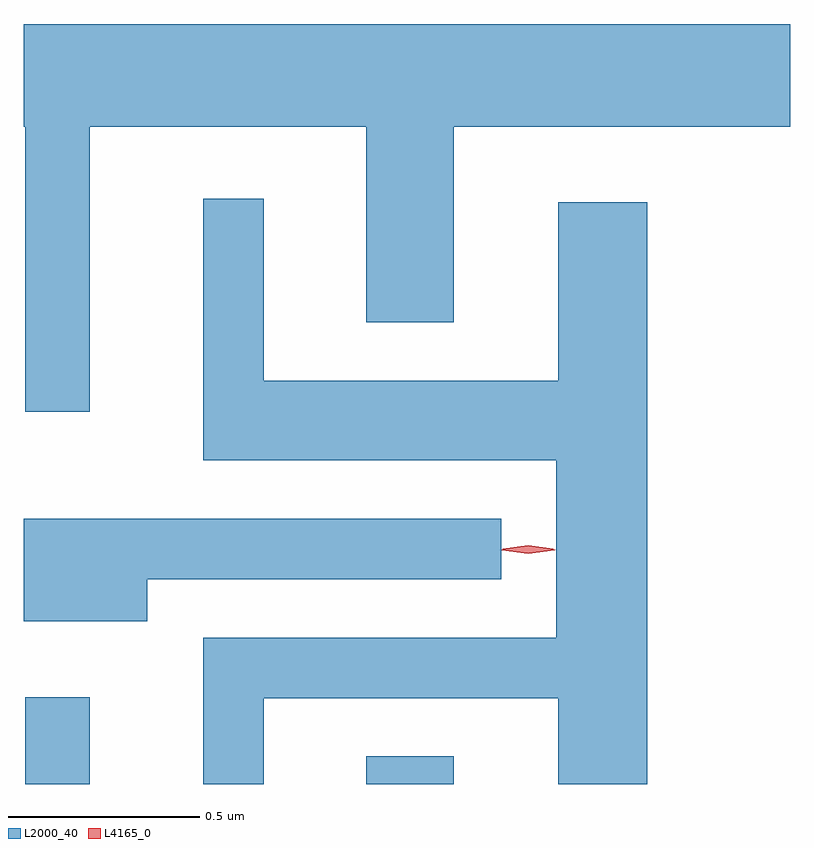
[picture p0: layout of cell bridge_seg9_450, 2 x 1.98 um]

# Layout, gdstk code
import gdstk
lib = gdstk.Library(unit=1e-6, precision=1e-09)
def R(c, l, rs):  # rectangles x0, y0, x1, y1
    for r in rs: c.add(gdstk.rectangle(r[:2], r[2:], *l))
def P(c, l, *ps):  # polygons
    for p in ps: c.add(gdstk.Polygon(p, *l))
L2000_40 = (2000, 40)
L4165_0 = (4165, 0)

bridge_seg9_450 = lib.new_cell('bridge_seg9_450')
R(bridge_seg9_450, L2000_40, [(351.511,2058.922,351.679,2059.148), (352.401,2058.922,352.629,2058.994)])
P(bridge_seg9_450, L2000_40, [(351.679,2060.636),(352.401,2060.636),(352.401,2060.126),(352.629,2060.126),(352.629,2060.636),(353.507,2060.636),(353.507,2060.904),(351.507,2060.904),(351.507,2060.636),(351.511,2060.636),(351.511,2059.893),(351.679,2059.893)],
  [(352.134,2059.146),(352.901,2059.146),(352.901,2058.922),(353.134,2058.922),(353.134,2060.439),(352.901,2060.439),(352.901,2059.974),(352.134,2059.974),(352.134,2060.448),(351.976,2060.448),(351.976,2059.766),(352.896,2059.766),(352.896,2059.304),(351.976,2059.304),(351.976,2058.922),(352.134,2058.922)],
  [(351.829,2059.456),(352.753,2059.456),(352.753,2059.614),(351.507,2059.614),(351.507,2059.346),(351.829,2059.346)])
P(bridge_seg9_450, L4165_0, [(352.823,2059.523),(352.754,2059.532),(352.754,2059.533),(352.754,2059.533),(352.823,2059.543),(352.892,2059.533),(352.893,2059.533),(352.892,2059.532)],
  [(352.823,2059.525),(352.757,2059.534),(352.757,2059.535),(352.757,2059.535),(352.823,2059.545),(352.889,2059.535),(352.889,2059.535),(352.889,2059.534)])

lib.write_gds('bridge_seg9_450.gds')
